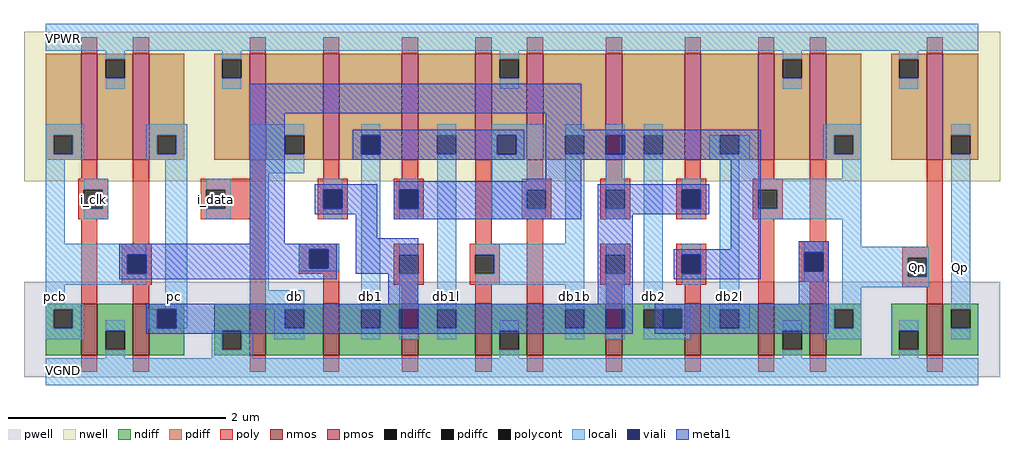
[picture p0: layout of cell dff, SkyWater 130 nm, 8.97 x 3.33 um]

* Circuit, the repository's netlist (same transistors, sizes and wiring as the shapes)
* NGSPICE file created from dff.ext - technology: sky130A

.subckt dff i_data i_clk Qp Qn VGND VPWR VNB VPB
X0 db2l pc db2 VPB sky130_fd_pr__pfet_01v8 ad=2.55937e+11p pd=1.5e+06u as=2.80313e+11p ps=1.55e+06u w=975000u l=150000u
X1 VPWR Qn db2l VPB sky130_fd_pr__pfet_01v8 ad=1.98047e+11p pd=1.625e+06u as=2.55937e+11p ps=1.5e+06u w=975000u l=150000u
X2 pc pcb VPWR VPB sky130_fd_pr__pfet_01v8 ad=3.16875e+11p pd=2.6e+06u as=1.98047e+11p ps=1.625e+06u w=975000u l=150000u
X3 db i_data VPWR VPB sky130_fd_pr__pfet_01v8 ad=2.55937e+11p pd=1.5e+06u as=1.98047e+11p ps=1.625e+06u w=975000u l=150000u
X4 db1 pc db VPB sky130_fd_pr__pfet_01v8 ad=2.80313e+11p pd=1.55e+06u as=2.55937e+11p ps=1.5e+06u w=975000u l=150000u
X5 db1b db1 VGND VNB sky130_fd_pr__nfet_01v8 ad=1.36562e+11p pd=1.05e+06u as=9.64844e+10p ps=1e+06u w=475000u l=150000u
X6 Qn db2 VGND VNB sky130_fd_pr__nfet_01v8 ad=1.54375e+11p pd=1.6e+06u as=9.64844e+10p ps=1e+06u w=475000u l=150000u
X7 Qp Qn VGND VNB sky130_fd_pr__nfet_01v8 ad=1.54375e+11p pd=1.6e+06u as=9.64844e+10p ps=1e+06u w=475000u l=150000u
X8 db2 pcb db1b VPB sky130_fd_pr__pfet_01v8 ad=2.80313e+11p pd=1.55e+06u as=2.80313e+11p ps=1.55e+06u w=975000u l=150000u
X9 db1l pc db1 VNB sky130_fd_pr__nfet_01v8 ad=1.24687e+11p pd=1e+06u as=1.36562e+11p ps=1.05e+06u w=475000u l=150000u
X10 VPWR i_clk pcb VPB sky130_fd_pr__pfet_01v8 ad=1.98047e+11p pd=1.625e+06u as=3.16875e+11p ps=2.6e+06u w=975000u l=150000u
X11 VGND db1b db1l VNB sky130_fd_pr__nfet_01v8 ad=9.64844e+10p pd=1e+06u as=1.24687e+11p ps=1e+06u w=475000u l=150000u
X12 db2l pcb db2 VNB sky130_fd_pr__nfet_01v8 ad=1.24687e+11p pd=1e+06u as=1.36562e+11p ps=1.05e+06u w=475000u l=150000u
X13 VGND Qn db2l VNB sky130_fd_pr__nfet_01v8 ad=9.64844e+10p pd=1e+06u as=1.24687e+11p ps=1e+06u w=475000u l=150000u
X14 pc pcb VGND VNB sky130_fd_pr__nfet_01v8 ad=1.54375e+11p pd=1.6e+06u as=9.64844e+10p ps=1e+06u w=475000u l=150000u
X15 db i_data VGND VNB sky130_fd_pr__nfet_01v8 ad=1.24687e+11p pd=1e+06u as=9.64844e+10p ps=1e+06u w=475000u l=150000u
X16 db1 pcb db VNB sky130_fd_pr__nfet_01v8 ad=1.36562e+11p pd=1.05e+06u as=1.24687e+11p ps=1e+06u w=475000u l=150000u
X17 db1b db1 VPWR VPB sky130_fd_pr__pfet_01v8 ad=2.80313e+11p pd=1.55e+06u as=1.98047e+11p ps=1.625e+06u w=975000u l=150000u
X18 Qn db2 VPWR VPB sky130_fd_pr__pfet_01v8 ad=3.16875e+11p pd=2.6e+06u as=1.98047e+11p ps=1.625e+06u w=975000u l=150000u
X19 Qp Qn VPWR VPB sky130_fd_pr__pfet_01v8 ad=3.16875e+11p pd=2.6e+06u as=1.98047e+11p ps=1.625e+06u w=975000u l=150000u
X20 db1l pcb db1 VPB sky130_fd_pr__pfet_01v8 ad=2.55937e+11p pd=1.5e+06u as=2.80313e+11p ps=1.55e+06u w=975000u l=150000u
X21 db2 pc db1b VNB sky130_fd_pr__nfet_01v8 ad=1.36562e+11p pd=1.05e+06u as=1.36562e+11p ps=1.05e+06u w=475000u l=150000u
X22 VPWR db1b db1l VPB sky130_fd_pr__pfet_01v8 ad=1.98047e+11p pd=1.625e+06u as=2.55937e+11p ps=1.5e+06u w=975000u l=150000u
X23 VGND i_clk pcb VNB sky130_fd_pr__nfet_01v8 ad=9.64844e+10p pd=1e+06u as=1.54375e+11p ps=1.6e+06u w=475000u l=150000u
.ends

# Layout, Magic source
magic
tech sky130A
magscale 1 2
<< nwell >>
rect 80 230 1875 505
<< pwell >>
rect 80 -130 1875 45
<< nmos >>
rect 185 -90 215 5
rect 280 -90 310 5
rect 495 -90 525 5
rect 630 -90 660 5
rect 775 -90 805 5
rect 910 -90 940 5
rect 1005 -90 1035 5
rect 1150 -90 1180 5
rect 1295 -90 1325 5
rect 1430 -90 1460 5
rect 1525 -90 1555 5
rect 1740 -90 1770 5
<< pmos >>
rect 185 270 215 465
rect 280 270 310 465
rect 495 270 525 465
rect 630 270 660 465
rect 775 270 805 465
rect 910 270 940 465
rect 1005 270 1035 465
rect 1150 270 1180 465
rect 1295 270 1325 465
rect 1430 270 1460 465
rect 1525 270 1555 465
rect 1740 270 1770 465
<< ndiff >>
rect 120 -5 185 5
rect 120 -40 135 -5
rect 170 -40 185 -5
rect 120 -90 185 -40
rect 215 -45 280 5
rect 215 -80 230 -45
rect 265 -80 280 -45
rect 215 -90 280 -80
rect 310 -5 375 5
rect 310 -40 325 -5
rect 360 -40 375 -5
rect 310 -90 375 -40
rect 430 -45 495 5
rect 430 -80 445 -45
rect 480 -80 495 -45
rect 430 -90 495 -80
rect 525 -5 630 5
rect 525 -40 560 -5
rect 595 -40 630 -5
rect 525 -90 630 -40
rect 660 -5 775 5
rect 660 -40 700 -5
rect 735 -40 775 -5
rect 660 -90 775 -40
rect 805 -5 910 5
rect 805 -40 840 -5
rect 875 -40 910 -5
rect 805 -90 910 -40
rect 940 -45 1005 5
rect 940 -80 955 -45
rect 990 -80 1005 -45
rect 940 -90 1005 -80
rect 1035 -5 1150 5
rect 1035 -40 1075 -5
rect 1110 -40 1150 -5
rect 1035 -90 1150 -40
rect 1180 -5 1295 5
rect 1180 -40 1220 -5
rect 1255 -40 1295 -5
rect 1180 -90 1295 -40
rect 1325 -5 1430 5
rect 1325 -40 1360 -5
rect 1395 -40 1430 -5
rect 1325 -90 1430 -40
rect 1460 -45 1525 5
rect 1460 -80 1475 -45
rect 1510 -80 1525 -45
rect 1460 -90 1525 -80
rect 1555 -5 1620 5
rect 1555 -40 1570 -5
rect 1605 -40 1620 -5
rect 1555 -90 1620 -40
rect 1675 -45 1740 5
rect 1675 -80 1690 -45
rect 1725 -80 1740 -45
rect 1675 -90 1740 -80
rect 1770 -5 1835 5
rect 1770 -40 1785 -5
rect 1820 -40 1835 -5
rect 1770 -90 1835 -40
<< pdiff >>
rect 120 315 185 465
rect 120 280 135 315
rect 170 280 185 315
rect 120 270 185 280
rect 215 455 280 465
rect 215 420 230 455
rect 265 420 280 455
rect 215 270 280 420
rect 310 315 375 465
rect 310 280 325 315
rect 360 280 375 315
rect 310 270 375 280
rect 430 455 495 465
rect 430 420 445 455
rect 480 420 495 455
rect 430 270 495 420
rect 525 315 630 465
rect 525 280 560 315
rect 595 280 630 315
rect 525 270 630 280
rect 660 315 775 465
rect 660 280 700 315
rect 735 280 775 315
rect 660 270 775 280
rect 805 315 910 465
rect 805 280 840 315
rect 875 280 910 315
rect 805 270 910 280
rect 940 455 1005 465
rect 940 420 955 455
rect 990 420 1005 455
rect 940 270 1005 420
rect 1035 315 1150 465
rect 1035 280 1075 315
rect 1110 280 1150 315
rect 1035 270 1150 280
rect 1180 315 1295 465
rect 1180 280 1220 315
rect 1255 280 1295 315
rect 1180 270 1295 280
rect 1325 315 1430 465
rect 1325 280 1360 315
rect 1395 280 1430 315
rect 1325 270 1430 280
rect 1460 455 1525 465
rect 1460 420 1475 455
rect 1510 420 1525 455
rect 1460 270 1525 420
rect 1555 315 1620 465
rect 1555 280 1570 315
rect 1605 280 1620 315
rect 1555 270 1620 280
rect 1675 455 1740 465
rect 1675 420 1690 455
rect 1725 420 1740 455
rect 1675 270 1740 420
rect 1770 315 1835 465
rect 1770 280 1785 315
rect 1820 280 1835 315
rect 1770 270 1835 280
<< ndiffc >>
rect 135 -40 170 -5
rect 230 -80 265 -45
rect 325 -40 360 -5
rect 445 -80 480 -45
rect 560 -40 595 -5
rect 700 -40 735 -5
rect 840 -40 875 -5
rect 955 -80 990 -45
rect 1075 -40 1110 -5
rect 1220 -40 1255 -5
rect 1360 -40 1395 -5
rect 1475 -80 1510 -45
rect 1570 -40 1605 -5
rect 1690 -80 1725 -45
rect 1785 -40 1820 -5
<< pdiffc >>
rect 135 280 170 315
rect 230 420 265 455
rect 325 280 360 315
rect 445 420 480 455
rect 560 280 595 315
rect 700 280 735 315
rect 840 280 875 315
rect 955 420 990 455
rect 1075 280 1110 315
rect 1220 280 1255 315
rect 1360 280 1395 315
rect 1475 420 1510 455
rect 1570 280 1605 315
rect 1690 420 1725 455
rect 1785 280 1820 315
<< poly >>
rect 185 465 215 495
rect 280 465 310 495
rect 495 465 525 495
rect 630 465 660 495
rect 775 465 805 495
rect 910 465 940 495
rect 1005 465 1035 495
rect 1150 465 1180 495
rect 1295 465 1325 495
rect 1430 465 1460 495
rect 1525 465 1555 495
rect 1740 465 1770 495
rect 185 235 215 270
rect 180 215 235 235
rect 180 180 190 215
rect 225 180 235 215
rect 180 160 235 180
rect 185 5 215 160
rect 280 115 310 270
rect 495 235 525 270
rect 630 235 660 270
rect 775 235 805 270
rect 405 215 525 235
rect 405 180 415 215
rect 450 180 525 215
rect 405 160 525 180
rect 620 215 675 235
rect 620 180 630 215
rect 665 180 675 215
rect 620 160 675 180
rect 760 215 815 235
rect 760 180 770 215
rect 805 180 815 215
rect 760 160 815 180
rect 260 95 315 115
rect 260 60 270 95
rect 305 60 315 95
rect 260 40 315 60
rect 280 5 310 40
rect 495 5 525 160
rect 910 115 940 270
rect 1005 235 1035 270
rect 1150 235 1180 270
rect 1295 235 1325 270
rect 1430 235 1460 270
rect 995 215 1050 235
rect 995 180 1005 215
rect 1040 180 1050 215
rect 995 160 1050 180
rect 1140 215 1195 235
rect 1140 180 1150 215
rect 1185 180 1195 215
rect 1140 160 1195 180
rect 1280 215 1335 235
rect 1280 180 1290 215
rect 1325 180 1335 215
rect 1280 160 1335 180
rect 1420 215 1475 235
rect 1420 180 1430 215
rect 1465 180 1475 215
rect 1420 160 1475 180
rect 585 105 660 115
rect 585 70 605 105
rect 640 70 660 105
rect 585 60 660 70
rect 630 5 660 60
rect 760 95 815 115
rect 760 60 770 95
rect 805 60 815 95
rect 760 40 815 60
rect 900 95 955 115
rect 900 60 910 95
rect 945 60 955 95
rect 900 40 955 60
rect 775 5 805 40
rect 910 5 940 40
rect 1005 5 1035 160
rect 1140 95 1195 115
rect 1140 60 1150 95
rect 1185 60 1195 95
rect 1140 40 1195 60
rect 1280 95 1335 115
rect 1280 60 1290 95
rect 1325 60 1335 95
rect 1280 40 1335 60
rect 1150 5 1180 40
rect 1295 5 1325 40
rect 1430 5 1460 160
rect 1525 120 1555 270
rect 1505 100 1560 120
rect 1740 110 1770 270
rect 1505 65 1515 100
rect 1550 65 1560 100
rect 1505 45 1560 65
rect 1695 90 1770 110
rect 1695 55 1705 90
rect 1740 55 1770 90
rect 1525 5 1555 45
rect 1695 35 1770 55
rect 1740 5 1770 35
rect 185 -120 215 -90
rect 280 -120 310 -90
rect 495 -120 525 -90
rect 630 -120 660 -90
rect 775 -120 805 -90
rect 910 -120 940 -90
rect 1005 -120 1035 -90
rect 1150 -120 1180 -90
rect 1295 -120 1325 -90
rect 1430 -120 1460 -90
rect 1525 -120 1555 -90
rect 1740 -120 1770 -90
<< polycont >>
rect 190 180 225 215
rect 415 180 450 215
rect 630 180 665 215
rect 770 180 805 215
rect 270 60 305 95
rect 1005 180 1040 215
rect 1150 180 1185 215
rect 1290 180 1325 215
rect 1430 180 1465 215
rect 605 70 640 105
rect 770 60 805 95
rect 910 60 945 95
rect 1150 60 1185 95
rect 1290 60 1325 95
rect 1515 65 1550 100
rect 1705 55 1740 90
<< locali >>
rect 120 470 1835 520
rect 230 455 265 470
rect 230 400 265 420
rect 445 455 480 470
rect 445 400 480 420
rect 955 455 990 470
rect 955 400 990 420
rect 1475 455 1510 470
rect 1475 400 1510 420
rect 1690 455 1725 470
rect 1690 400 1725 420
rect 120 315 190 335
rect 120 280 135 315
rect 170 280 190 315
rect 120 270 190 280
rect 305 315 380 335
rect 305 280 325 315
rect 360 280 380 315
rect 305 270 380 280
rect 120 115 155 270
rect 190 215 235 235
rect 225 180 235 215
rect 190 160 235 180
rect 120 95 305 115
rect 120 60 270 95
rect 120 40 305 60
rect 120 5 155 40
rect 120 -5 190 5
rect 340 -5 380 270
rect 495 315 595 335
rect 495 280 560 315
rect 495 245 595 280
rect 700 315 735 335
rect 415 215 460 235
rect 450 180 460 215
rect 415 160 460 180
rect 495 30 530 245
rect 630 215 665 235
rect 630 160 665 180
rect 585 105 660 115
rect 585 70 605 105
rect 640 70 660 105
rect 585 65 660 70
rect 495 -5 595 30
rect 120 -40 135 -5
rect 170 -40 190 -5
rect 120 -60 190 -40
rect 230 -45 265 -25
rect 305 -40 325 -5
rect 360 -40 380 -5
rect 540 -40 560 -5
rect 230 -95 265 -80
rect 425 -80 445 -45
rect 480 -80 500 -45
rect 540 -60 595 -40
rect 700 -5 735 280
rect 840 315 875 335
rect 770 215 805 235
rect 770 160 805 180
rect 700 -60 735 -40
rect 770 95 805 115
rect 770 -5 805 60
rect 770 -60 805 -40
rect 840 -5 875 280
rect 940 315 1040 335
rect 940 280 950 315
rect 985 280 1040 315
rect 940 215 1040 280
rect 940 180 1005 215
rect 940 160 1040 180
rect 1075 315 1110 335
rect 1075 115 1110 280
rect 1150 315 1185 335
rect 1150 215 1185 280
rect 1150 160 1185 180
rect 1220 315 1255 335
rect 1550 315 1620 335
rect 910 95 1110 115
rect 945 60 1110 95
rect 910 40 1110 60
rect 1075 -5 1110 40
rect 840 -60 875 -40
rect 955 -45 990 -25
rect 425 -95 500 -80
rect 1075 -60 1110 -40
rect 1150 95 1185 115
rect 1150 -5 1185 60
rect 1150 -60 1185 -40
rect 1220 5 1255 280
rect 1340 280 1360 315
rect 1395 280 1415 315
rect 1340 270 1415 280
rect 1550 280 1570 315
rect 1605 280 1620 315
rect 1550 270 1620 280
rect 1290 215 1325 235
rect 1290 160 1325 180
rect 1290 95 1325 115
rect 1290 40 1325 60
rect 1360 5 1395 270
rect 1585 235 1620 270
rect 1430 215 1620 235
rect 1465 180 1620 215
rect 1430 160 1620 180
rect 1515 100 1550 120
rect 1515 45 1550 65
rect 1585 110 1620 160
rect 1785 315 1820 335
rect 1585 90 1745 110
rect 1585 55 1705 90
rect 1740 55 1745 90
rect 1585 35 1745 55
rect 1585 5 1620 35
rect 1220 -5 1305 5
rect 1290 -40 1305 -5
rect 1340 -5 1415 5
rect 1340 -40 1360 -5
rect 1395 -40 1415 -5
rect 1550 -5 1620 5
rect 1220 -60 1305 -40
rect 1475 -45 1510 -25
rect 955 -95 990 -80
rect 1550 -40 1570 -5
rect 1605 -40 1620 -5
rect 1785 -5 1820 280
rect 1550 -60 1620 -40
rect 1690 -45 1725 -25
rect 1475 -95 1510 -80
rect 1785 -60 1820 -40
rect 1690 -95 1725 -80
rect 120 -145 1835 -95
<< viali >>
rect 270 60 305 95
rect 700 280 735 315
rect 630 180 665 215
rect 605 70 640 105
rect 325 -40 360 -5
rect 770 180 805 215
rect 770 -40 805 -5
rect 950 280 985 315
rect 1150 280 1185 315
rect 1150 -40 1185 -5
rect 1290 180 1325 215
rect 1290 60 1325 95
rect 1515 65 1550 100
rect 1255 -40 1290 -5
<< metal1 >>
rect 495 355 1105 410
rect 495 115 560 355
rect 1040 325 1105 355
rect 685 315 1000 325
rect 685 280 700 315
rect 735 280 950 315
rect 985 280 1000 315
rect 685 270 1000 280
rect 1040 315 1435 325
rect 1040 280 1150 315
rect 1185 280 1435 315
rect 1040 270 1435 280
rect 1040 235 1105 270
rect 1005 230 1105 235
rect 615 215 730 225
rect 615 180 630 215
rect 665 180 730 215
rect 615 170 730 180
rect 690 125 730 170
rect 760 215 1105 230
rect 760 180 770 215
rect 805 180 1105 215
rect 760 160 1105 180
rect 1135 215 1340 225
rect 1135 180 1290 215
rect 1325 180 1340 215
rect 1135 170 1340 180
rect 255 105 655 115
rect 255 95 605 105
rect 255 60 270 95
rect 305 70 605 95
rect 640 70 655 105
rect 305 60 655 70
rect 690 60 805 125
rect 255 50 655 60
rect 750 5 805 60
rect 1135 5 1200 170
rect 1380 105 1435 270
rect 1275 95 1435 105
rect 1275 60 1290 95
rect 1325 60 1435 95
rect 1275 50 1435 60
rect 1505 100 1560 120
rect 1505 65 1515 100
rect 1550 65 1560 100
rect 1505 5 1560 65
rect 305 -5 1200 5
rect 305 -40 325 -5
rect 360 -40 770 -5
rect 805 -40 1150 -5
rect 1185 -40 1200 -5
rect 305 -50 1200 -40
rect 1240 -5 1560 5
rect 1240 -40 1255 -5
rect 1290 -40 1560 -5
rect 1240 -50 1560 -40
<< labels >>
flabel locali 415 180 450 215 5 FreeSans 200 0 0 0 i_data
port 1 nsew signal input
flabel locali 190 180 225 215 5 FreeSans 200 0 0 0 i_clk
port 2 nsew signal input
flabel locali 1785 55 1820 90 5 FreeSans 200 0 0 0 Qp
port 3 nsew signal output
flabel locali 1705 55 1740 90 5 FreeSans 200 0 0 0 Qn
port 4 nsew signal output
flabel locali 135 -135 170 -100 5 FreeSans 200 0 0 0 VGND
port 5 nsew ground bidirectional abutment
flabel locali 135 475 170 510 5 FreeSans 200 0 0 0 VPWR
port 6 nsew power bidirectional abutment
flabel pwell 135 -135 170 -100 5 FreeSans 200 0 0 0 VNB
port 7 nsew ground bidirectional
flabel nwell 135 475 170 510 5 FreeSans 200 0 0 0 VPB
port 8 nsew power bidirectional
rlabel locali 120 5 155 30 5 pcb
rlabel locali 340 5 375 30 5 pc
rlabel locali 560 5 595 30 5 db
rlabel locali 700 5 735 30 5 db1
rlabel locali 840 5 875 30 5 db1l
rlabel locali 1075 5 1110 30 5 db1b
rlabel locali 1220 5 1255 30 5 db2
rlabel locali 1360 5 1395 30 5 db2l
<< end >>
